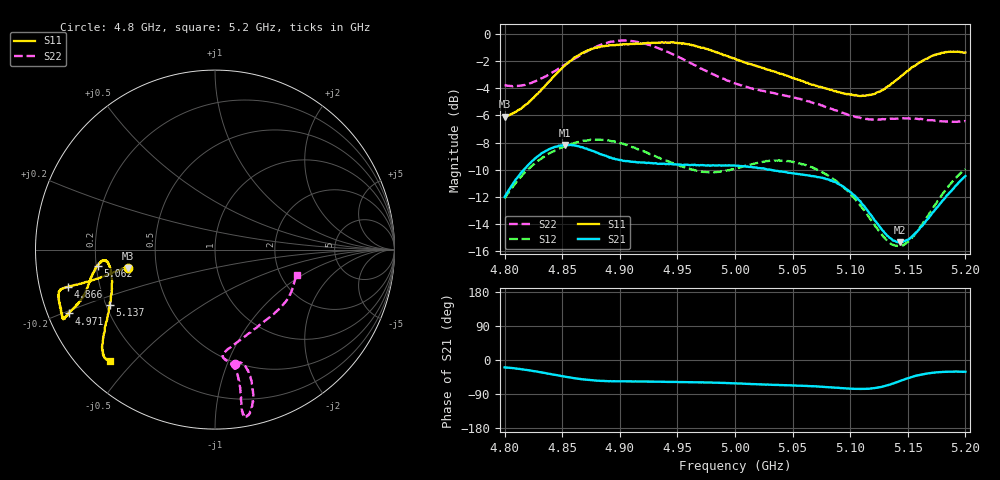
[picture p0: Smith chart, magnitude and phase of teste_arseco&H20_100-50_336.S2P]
! Network Analyzer HP8722D
! Hewlett-Packard
! Data name: Linha & Wilkinson
! Saver's name: Rodrigo Anjos
! Comments: Teste da utilização de aquisição
! continua pelo VNA HP8722D
! Time and date: 6/5/2025 15:22
!  Frequency  S11  S21  S12  S22
# HZ  S  MA R 50
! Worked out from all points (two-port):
!   401 points, 4.8 GHz to 5.2 GHz, reference 50 ohm
!   highest |S21| = -8.17 dB at 4.852 GHz (marker M1); lowest = -15.3 dB at 5.143 GHz (marker M2)
!   |S21| within 3 dB of the highest: 4.806 GHz to 5.093 GHz (286.6 MHz wide, 5.79 % of centre); 5.191613 GHz to end of sweep
!   lowest |S11| = -6.1 dB at 4.8 GHz (marker M3), VSWR 2.97, Z = 17 - j4.6 ohm
!   |S11| at or under -10 dB: nowhere
!   |S22| runs from -6.5 to -0.5 dB; largest |S21 - S12| = 0.62
!   S11 on the Smith chart (normalised r, x): 4.8 GHz: 0.34, -0.09; 4.866 GHz: 0.09, -0.12; 4.971 GHz: 0.06, -0.21; 5.062 GHz: 0.21, -0.07; 5.137 GHz: 0.22, -0.23; 5.2 GHz: 0.09, -0.43
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4.8e9  0.4966 -168.1  0.2516 -19.5  0.2487 -140.8  0.6479 -80.3
4.826e9  0.5875 -167.2  0.3475 -29.6  0.333 -144.5  0.6678 -75.7
4.852e9  0.7637 -165.8  0.3904 -43.8  0.3866 -149.3  0.769 -74.5
4.866e9  0.8428 -165.7  0.3835 -50.2  0.4022 -151.7  0.8371 -75.2
4.867e9  0.8495 -165.8  0.3836 -50.8  0.4028 -151.9  0.8439 -75.4
4.883e9  0.8954 -165.0  0.3612 -55.0  0.4083 -154.7  0.91 -77.1
4.9e9  0.9145 -162.5  0.3437 -56.3  0.3966 -156.5  0.9422 -79.1
4.934e9  0.9299 -156.4  0.333 -57.3  0.3508 -155.5  0.8836 -80.5
4.971e9  0.8891 -156.4  0.3291 -59.2  0.3116 -146.4  0.7453 -79.6
5e9  0.8094 -159.0  0.328 -61.7  0.3195 -137.2  0.6581 -81.2
5.034e9  0.7275 -165.1  0.3143 -65.6  0.3426 -134.2  0.6052 -85.6
5.062e9  0.6602 -172.2  0.3024 -68.5  0.3291 -136.2  0.5672 -83.9
5.067e9  0.6506 -173.0  0.3002 -69.0  0.3235 -136.7  0.5594 -82.6
5.082e9  0.6239 -174.6  0.2906 -71.8  0.2993 -138.2  0.533 -77.2
5.101e9  0.5991 -172.0  0.2607 -75.8  0.2556 -138.7  0.5013 -66.5
5.116e9  0.5961 -165.4  0.2214 -76.0  0.213 -135.5  0.4849 -55.7
5.134e9  0.6449 -154.2  0.1783 -65.3  0.1709 -120.8  0.4867 -43.3
5.137e9  0.6604 -152.4  0.174 -62.4  0.1679 -116.8  0.4872 -41.5
5.143e9  0.6908 -149.2  0.1711 -55.9  0.1658 -109.0  0.4878 -38.0
5.154e9  0.7552 -144.4  0.1807 -44.5  0.1791 -95.0  0.4887 -32.2
5.172e9  0.8343 -139.0  0.221 -33.6  0.2297 -81.1  0.4813 -24.6
5.2e9  0.8538 -133.5  0.3003 -31.2  0.3185 -76.8  0.4773 -17.4
